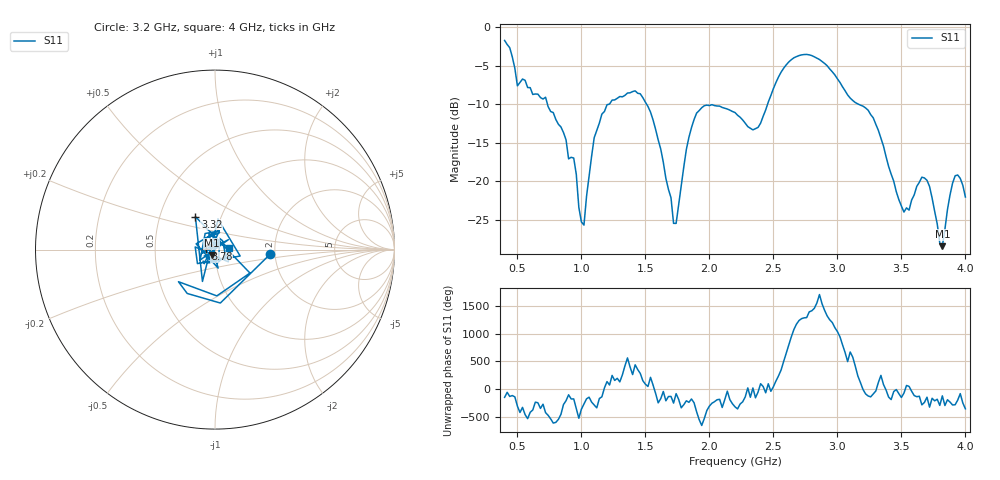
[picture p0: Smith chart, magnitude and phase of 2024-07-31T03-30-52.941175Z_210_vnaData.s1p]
!Created with skrf (http://scikit-rf.org).
# Hz S RI R 50.0
!freq ReS11 ImS11
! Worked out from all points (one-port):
!   181 points, 400 MHz to 4 GHz, reference 50 ohm
!   lowest |S11| = -28.4 dB at 3.82 GHz (marker M1), VSWR 1.08, Z = 48 - j3.16 ohm
!   |S11| at or under -10 dB: 734.8 MHz to 1.215 GHz (480 MHz wide, 49.2 % of centre); 1.509 GHz to 2.455 GHz (945 MHz wide, 47.7 % of centre); 3.165 GHz to end of sweep
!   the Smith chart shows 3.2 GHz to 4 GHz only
!   S11 on the Smith chart (normalised r, x): 3.2 GHz: 1.88, -0.11; 3.32 GHz: 0.75, +0.29; 3.78 GHz: 0.90, +0.00; 4 GHz: 1.17, +0.02
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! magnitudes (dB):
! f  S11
! 400 MHz  -1.7
! 500 MHz  -7.6
! 720 MHz  -9.1
! 860 MHz  -13.7
! 940 MHz  -17.0
! 980 MHz  -23.4
! 1.02 GHz  -25.7
! 1.1 GHz  -14.3
! 1.3 GHz  -9.0
! 1.52 GHz  -10.3
! 1.72 GHz  -25.5
! 1.76 GHz  -23.0
! 1.82 GHz  -15.9
! 1.9 GHz  -11.2
! 2.2 GHz  -11.1
! 2.38 GHz  -13.0
! 2.66 GHz  -4.0
! 2.86 GHz  -4.2
! 3.1 GHz  -9.2
! 3.2 GHz  -10.2
! 3.32 GHz  -13.4
! 3.48 GHz  -22.4
! 3.56 GHz  -23.7
! 3.68 GHz  -19.6
! 3.78 GHz  -25.5
! 3.82 GHz  -28.4
! 3.92 GHz  -19.3
! 4 GHz  -22.0
